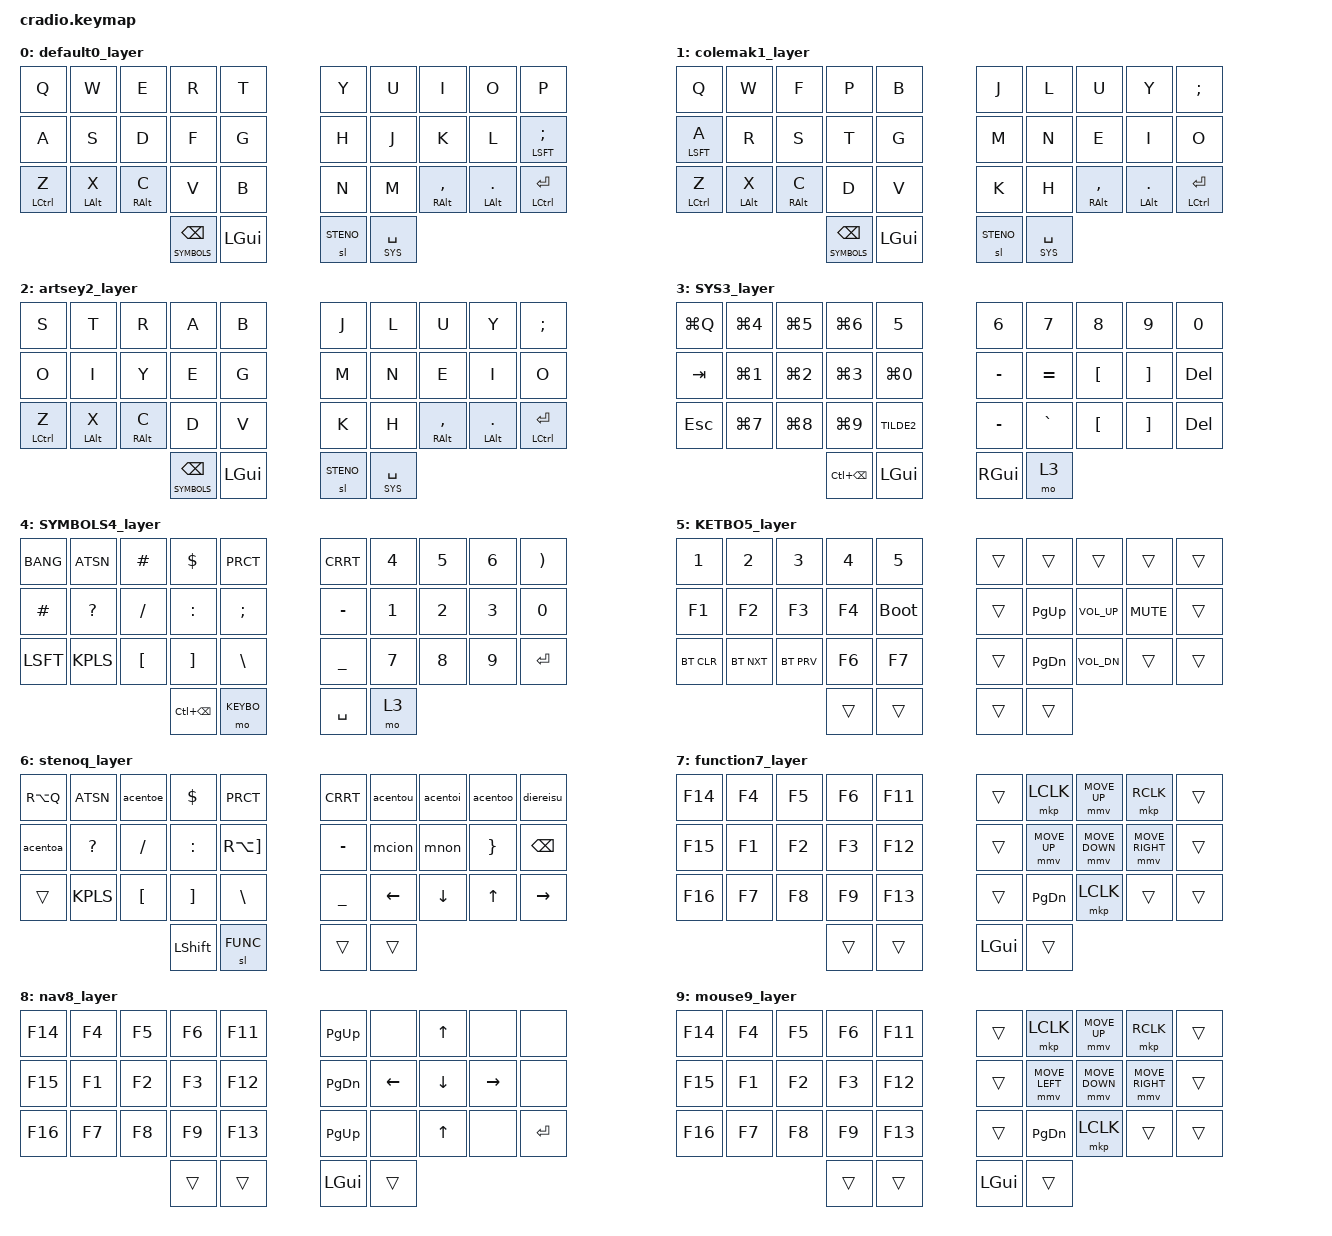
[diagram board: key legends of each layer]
/*
 * Copyright (c) 2020 The ZMK Contributors
 *
 * SPDX-License-Identifier: MIT
 */

#include <behaviors.dtsi>
#include <dt-bindings/zmk/keys.h>
#include <dt-bindings/zmk/bt.h>
#include <dt-bindings/zmk/mouse.h>

#define QWERTY  0
#define COLEMAK 1
#define ARTSEY	2
#define SYS	3
#define SYMBOLS 4
#define KEYBO   5
#define STENO   6
#define FUNC    7
#define NAV     8
#define MOUSE   9

&mt {
  //  flavor = "tap-preferred";
   // tapping_term_ms = <200>;
};

/ {
    macros {
    ZMK_MACRO(acentoa, wait-ms = <30>; tap-ms = <40>;
        bindings = <&kp LBKT &kp A>;)
    ZMK_MACRO(acentoe, wait-ms = <30>; tap-ms = <40>;
        bindings = <&kp LBKT &kp E>;)
    ZMK_MACRO(acentoi, wait-ms = <30>; tap-ms = <40>;
        bindings = <&kp LBKT &kp I>;)
    ZMK_MACRO(acentoo, wait-ms = <30>; tap-ms = <40>;
        bindings = <&kp LBKT &kp O>;)
    ZMK_MACRO(acentou, wait-ms = <30>; tap-ms = <40>;
        bindings = <&kp LBKT &kp U>;)
    ZMK_MACRO(diereisu, wait-ms = <30>; tap-ms = <40>;
        bindings = <&kp LS(LBKT) &kp U> ;)
    ZMK_MACRO(mcion, wait-ms = <30>; tap-ms = <40>;
        bindings = <&kp C &kp I &kp LBKT &kp O &kp N>;)
    ZMK_MACRO(mnon, wait-ms = <30>; tap-ms = <40>;
        bindings = <&kp SCLN &kp LBKT &kp O &kp N>;)

    };
};

/ { 

    combos {
        compatible = "zmk,combos";
         combo_shift {
            timeout-ms = <50>;
            key-positions = <10 11>;
            bindings = <&sk LSHIFT>;
        };
	combo_pipe {
            timeout-ms = <50>;
            key-positions = <0 10>;
            bindings = <&kp GRAVE>;
        };
	combo_esc1 {
            timeout-ms = <50>;
            key-positions = <0 1>;
            bindings = <&kp ESC>;
        };
	combo_esc2 {
            timeout-ms = <50>;
            key-positions = <3 6>;
            bindings = <&kp ESC>;
        };
         combo_tab {
            timeout-ms = <50>;
            key-positions = <23 26>;
            bindings = <&kp TAB>;
        };
        
            combo_ralt {
            timeout-ms = <50>;
            key-positions = <17 16>;
            bindings = <&kp RALT>;
        };
        
                    combo_lalt {
            timeout-ms = <50>;
            key-positions = <11 12>;
            bindings = <&kp LALT>;
        };
        
                           combo_lgui {
            timeout-ms = <50>;
            key-positions = <12 13>;
            bindings = <&kp LGUI>;
        };
        
           combo_rgui {
            timeout-ms = <50>;
            key-positions = <17 18>;
            bindings = <&kp RGUI>;
        };
           combo_colemak {
            timeout-ms = <50>;
            key-positions = <0 9>;
            bindings = <&to COLEMAK>;
            layers = <QWERTY>;
        };
           combo_qwerty {
            timeout-ms = <50>;
            key-positions = <0 9>;
            bindings = <&to QWERTY>;
            layers = <COLEMAK>;
        };
           combo_repeat {
            timeout-ms = <50>;
            key-positions = <13 16>;
            bindings = <&key_repeat>;
        };
           combo_nav {
            timeout-ms = <50>;
            key-positions = <7 16 18>;
            bindings = <&tog NAV>;
            layers = <QWERTY COLEMAK ARTSEY NAV>;
        };
           combo_mouse {
            timeout-ms = <50>;
            key-positions = <6 17 8>;
            bindings = <&tog MOUSE>;
            layers = <QWERTY COLEMAK ARTSEY MOUSE>;
        };
           combo_slash {
            timeout-ms = <50>;
            key-positions = <1 11>;
            bindings = <&kp LS(N7)>;
            layers = <QWERTY COLEMAK ARTSEY>;
        };
           combo_queston1 {
            timeout-ms = <50>;
            key-positions = <6 16>;
            bindings = <&kp UNDER>;
            layers = <QWERTY COLEMAK ARTSEY>;
        };
           combo_queston2 {
            timeout-ms = <50>;
            key-positions = <3 13>;
            bindings = <&kp EQUAL>;
            layers = <QWERTY COLEMAK ARTSEY>;
        };
           combo_exq1 {
            timeout-ms = <50>;
            key-positions = <16 26>;
            bindings = <&kp LS(N1)>;
            layers = <QWERTY COLEMAK ARTSEY>;
        };
           combo_exq2 {
            timeout-ms = <50>;
            key-positions = <13 23>;
            bindings = <&kp LS(EQUAL)>;
            layers = <QWERTY COLEMAK ARTSEY>;
        };
           combo_mark {
            timeout-ms = <50>;
            key-positions = <8 18>;
            bindings = <&kp MINUS>;
            layers = <QWERTY COLEMAK ARTSEY>;
        };
           combo_dmark {
            timeout-ms = <50>;
            key-positions = <7 17>;
            bindings = <&kp LS(N2)>;
            layers = <QWERTY COLEMAK ARTSEY>;
        };
           combo_par1 {
            timeout-ms = <50>;
            key-positions = <17 27>;
            bindings = <&kp LS(N9)>;
            layers = <QWERTY COLEMAK ARTSEY>;
        };
           combo_par2 {
            timeout-ms = <50>;
            key-positions = <12 22>;
            bindings = <&kp LS(N8)>;
            layers = <QWERTY COLEMAK ARTSEY>;
        };
           combo_may {
            timeout-ms = <50>;
            key-positions = <18 28>;
            bindings = <&kp LS(NON_US_BSLH)>;
            layers = <QWERTY COLEMAK ARTSEY>;
        };
           combo_men {
            timeout-ms = <50>;
            key-positions = <11 21>;
            bindings = <&kp NON_US_BSLH>;
            layers = <QWERTY COLEMAK ARTSEY>;
        };
           combo_boot {
            timeout-ms = <50>;
            key-positions = <0 10 3 13>;
            bindings = <&bootloader>;
            layers = <QWERTY COLEMAK ARTSEY>;
        };



        
    };

        keymap {
                compatible = "zmk,keymap";
                
       		default0_layer {
		bindings = <
		&kp Q	    &kp W &kp E &kp R &kp T 				&kp Y &kp U  &kp I    &kp O   &kp P 
		&kp A	    &kp S &kp D &kp F &kp G 			       	&kp H &kp J  &kp K    &kp L   &mt LSFT SCLN
		&mt LCTRL Z &mt LALT X &mt RALT C &kp V &kp B		        &kp N &kp M  &mt RALT CMMA &mt LALT DOT &mt LCTRL RET
          				&lt SYMBOLS BKSP &kp LGUI  		&sl STENO &lt SYS SPC 
		>;
		};

       		colemak1_layer {
		bindings = <
		&kp Q &kp W &kp F &kp P &kp B 					&kp J &kp L  &kp U    &kp Y   &kp SCLN
		&mt LSFT A &kp R &kp S &kp T &kp G 			        &kp M &kp N  &kp E    &kp I   &kp O
		&mt LCTRL Z &mt LALT X &mt RALT C  &kp D &kp V		        &kp K &kp H  &mt RALT CMMA &mt LALT DOT &mt LCTRL RET
          				&lt SYMBOLS  BKSP &kp LGUI  		&sl STENO &lt SYS SPC 
		>;
		};

       		artsey2_layer {
		bindings = <
		&kp S &kp T &kp R &kp A &kp B 					&kp J &kp L  &kp U    &kp Y   &kp SCLN
		&kp O &kp I &kp Y &kp E &kp G 			        &kp M &kp N  &kp E    &kp I   &kp O
		&mt LCTRL Z &mt LALT X &mt RALT C  &kp D &kp V		        &kp K &kp H  &mt RALT CMMA &mt LALT DOT &mt LCTRL RET
          				&lt SYMBOLS BKSP &kp LGUI  		&sl STENO &lt SYS SPC 
		>;
		};

       		SYS3_layer {
		bindings = <
		&kp LG(Q) &kp LG(N4) &kp LG(N5) &kp LG(N6) &kp NUM_5	&kp NUM_6 &kp NUM_7 &kp NUM_8 &kp NUM_9 &kp NUM_0 
		&kp TAB   &kp LG(N1) &kp LG(N2) &kp LG(N3) &kp LG(N0) 	&kp MINUS &kp EQL  &kp LBKT &kp RBKT  &kp DEL 
		&kp ESC   &kp LG(N7) &kp LG(N8) &kp LG(N9) &kp TILDE2 	&kp MINUS &kp GRAVE &kp LBKT &kp RBKT  &kp DEL 
					    &kp LC(BSPC)  &kp LGUI  		&kp RGUI &mo 3 
		>;
		};
		
		SYMBOLS4_layer {
		bindings = <
		&kp BANG  &kp ATSN &kp HASH  &kp DLLR  &kp PRCT    		&kp CRRT  &kp N4  &kp N5  &kp N6  &kp RPRN 
		&kp HASH  &kp QMARK  &kp FSLH  &kp COLN  &kp SCLN 		&kp MINUS &kp N1  &kp N2  &kp N3  &kp N0
		&kp LSFT  &kp KPLS &kp LBKT &kp RBKT   &kp BSLH    		&kp UNDER &kp N7  &kp N8  &kp N9  &kp RET
					  &kp LC(BKSP) &mo KEYBO  		&kp SPC  &mo 3 
		>;
		};	
		
		KETBO5_layer {
		bindings = <
		&kp NUM_1  &kp NUM_2    &kp NUM_3    &kp NUM_4    &kp NUM_5 			&trans &trans   &trans   &trans  &trans
		&kp F1 &kp F2 &kp F3 &kp F4 &bootloader						&trans &kp PG_UP  &kp K_VOL_UP &kp K_MUTE &trans 
		&bt BT_CLR  &bt BT_NXT &bt BT_PRV &kp F6 &kp F7   				&trans &kp PG_DN  &kp K_VOL_DN  &trans &trans   
					 &trans &trans  					&trans &trans 
		>;
		};	
        
		stenoq_layer {
		bindings = <
		&kp RA(Q) &kp ATSN &acentoe  &kp DLLR  &kp PRCT    			&kp CRRT  &acentou &acentoi &acentoo &diereisu 
		&acentoa &kp QMARK  &kp FSLH  &kp COLN  &kp RA(RBKT) 			&kp MINUS &mcion   &mnon    &kp RBRC   &kp BKSP
		&trans   &kp KPLS &kp LBKT &kp RBKT   &kp BSLH    			&kp UNDER &kp LEFT &kp DOWN &kp UP  &kp RIGHT
					 &kp LSHIFT &sl FUNC  					&trans &trans 
		>;
		};	

		function7_layer {
		bindings = <
		&kp F14 &kp F4 &kp F5 &kp F6 &kp F11 			&trans &mkp LCLK   &mmv MOVE_UP   &mkp RCLK  &trans
		&kp F15 &kp F1 &kp F2 &kp F3 &kp F12  			&trans &mmv MOVE_UP &mmv MOVE_DOWN &mmv MOVE_RIGHT &trans 
		&kp F16 &kp F7 &kp F8 &kp F9 &kp F13   			&trans &kp PG_DN   &mkp LCLK  &trans &trans   
					 &trans &trans  		&kp LGUI &trans 
		>;
		};	

		nav8_layer {
		bindings = <
		&kp F14 &kp F4 &kp F5 &kp F6 &kp F11 			&kp PG_UP   &none    &kp UP   &none     &none
		&kp F15 &kp F1 &kp F2 &kp F3 &kp F12 			&kp PG_DN   &kp LEFT &kp DOWN &kp RIGHT &none 
		&kp F16 &kp F7 &kp F8 &kp F9 &kp F13 			&kp PG_UP   &none    &kp UP   &none     &kp RET
					 &trans &trans  		&kp LGUI &trans 
		>;
		};	

		mouse9_layer {
		bindings = <
		&kp F14 &kp F4 &kp F5 &kp F6 &kp F11 			&trans &mkp LCLK   &mmv MOVE_UP   &mkp RCLK  &trans
		&kp F15 &kp F1 &kp F2 &kp F3 &kp F12  			&trans &mmv MOVE_LEFT &mmv MOVE_DOWN &mmv MOVE_RIGHT &trans 
		&kp F16 &kp F7 &kp F8 &kp F9 &kp F13   			&trans &kp PG_DN   &mkp LCLK  &trans &trans   
					 &trans &trans  		&kp LGUI &trans 
		>;
		};	
	};
};

//		function7_layer {
//		bindings = <
//		&kp F14 &kp F4 &kp F5 &kp F6 &kp F11 			&trans &trans   &trans   &trans  &trans
//		&kp F15 &kp F1 &kp F2 &kp F3 &kp F12  			&trans &kp PG_UP  &kp K_VOL_UP &kp K_MUTE &trans 
//		&kp F16 &kp F7 &kp F8 &kp F9 &kp F13   			&trans &kp PG_DN  &kp K_VOL_DN  &trans &trans   
//					 &trans &trans  		&kp LGUI &trans 
//		>;
//		};	
//

//		SYMBOLS4_layer {
//		bindings = <
//		&kp BANG  &kp ATSN &kp HASH  &kp DLLR  &kp PRCT    		&kp CRRT  &kp AMPS &kp KMLT &kp LPRN &kp RPRN 
//		&kp HASH  &kp QMARK  &kp FSLH  &kp COLN  &kp SCLN 		&kp MINUS &kp KP_EQUAL  &kp LBRC  &kp RBRC   &kp BKSP
//		&kp LSFT  &kp KPLS &kp LBKT &kp RBKT   &kp BSLH    		&kp UNDER &kp LEFT &kp DOWN &kp UP_ARROW  &kp RIGHT
//					  &kp LC(BKSP) &mo KEYBO  		&kp SPC  &mo 3 
//		>;
//		};	
